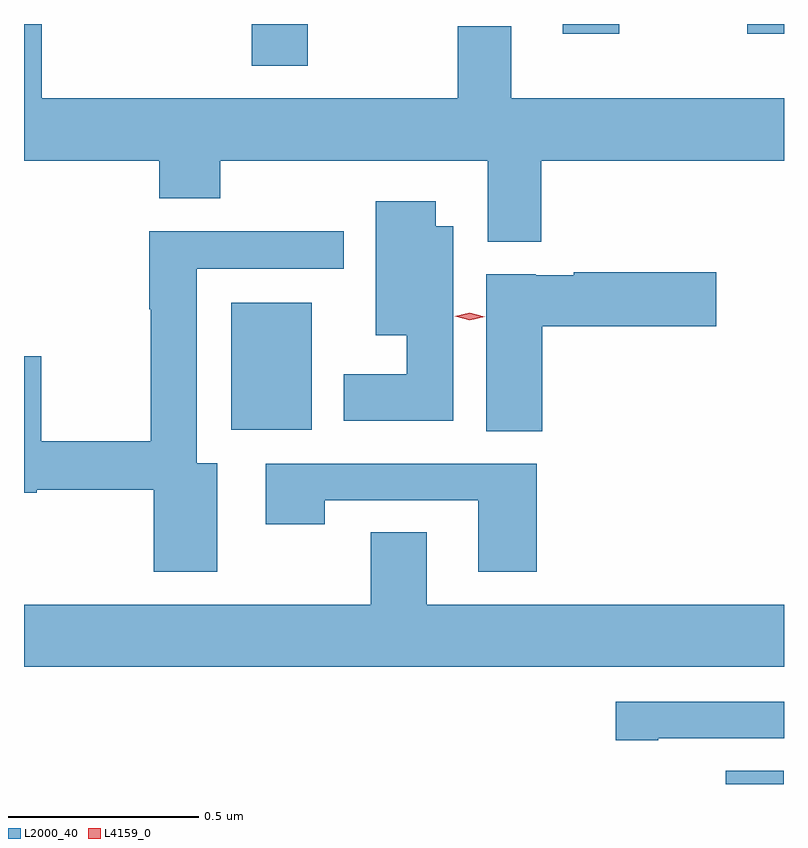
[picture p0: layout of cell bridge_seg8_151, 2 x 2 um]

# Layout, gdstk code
import gdstk
lib = gdstk.Library(unit=1e-6, precision=1e-09)
def R(c, l, rs):  # rectangles x0, y0, x1, y1
    for r in rs: c.add(gdstk.rectangle(r[:2], r[2:], *l))
def P(c, l, *ps):  # polygons
    for p in ps: c.add(gdstk.Polygon(p, *l))
L2000_40 = (2000, 40)
L4159_0 = (4159, 0)

bridge_seg8_151 = lib.new_cell('bridge_seg8_151')
R(bridge_seg8_151, L2000_40, [(512.078,1149.492,512.23,1149.527), (510.776,1150.424,510.988,1150.759), (510.83,1151.382,510.978,1151.492), (511.649,1151.466,511.797,1151.492), (512.134,1151.466,512.231,1151.492)])
P(bridge_seg8_151, L2000_40, [(511.451,1150.919),(511.592,1150.919),(511.592,1151.132),(512.231,1151.132),(512.231,1151.296),(511.513,1151.296),(511.513,1151.486),(511.373,1151.486),(511.373,1151.296),(510.278,1151.296),(510.278,1151.492),(510.231,1151.492),(510.231,1151.132),(510.587,1151.132),(510.587,1151.033),(510.747,1151.033),(510.747,1151.132),(511.451,1151.132)],
  [(511.36,1150.96),(511.315,1150.96),(511.315,1151.026),(511.157,1151.026),(511.157,1150.673),(511.238,1150.673),(511.238,1150.57),(511.073,1150.57),(511.073,1150.448),(511.36,1150.448)],
  [(510.739,1150.336),(510.685,1150.336),(510.685,1150.848),(511.072,1150.848),(511.072,1150.946),(510.56,1150.946),(510.56,1150.741),(510.565,1150.741),(510.565,1150.394),(510.276,1150.394),(510.276,1150.618),(510.231,1150.618),(510.231,1150.258),(510.264,1150.258),(510.264,1150.266),(510.572,1150.266),(510.572,1150.05),(510.739,1150.05)],
  [(511.595,1150.697),(512.053,1150.697),(512.053,1150.839),(511.678,1150.839),(511.678,1150.831),(511.578,1150.831),(511.578,1150.834),(511.448,1150.834),(511.448,1150.42),(511.595,1150.42)],
  [(511.58,1150.335),(510.867,1150.335),(510.867,1150.176),(511.023,1150.176),(511.023,1150.239),(511.427,1150.239),(511.427,1150.05),(511.58,1150.05)],
  [(512.231,1149.964),(511.291,1149.964),(511.291,1150.154),(511.144,1150.154),(511.144,1149.964),(510.231,1149.964),(510.231,1149.8),(512.231,1149.8)],
  [(511.9,1149.612),(512.231,1149.612),(512.231,1149.708),(511.788,1149.708),(511.788,1149.607),(511.9,1149.607)])
P(bridge_seg8_151, L4159_0, [(511.404,1150.712),(511.364,1150.723),(511.364,1150.723),(511.364,1150.723),(511.404,1150.732),(511.444,1150.722),(511.444,1150.722),(511.444,1150.722)])

lib.write_gds('bridge_seg8_151.gds')
